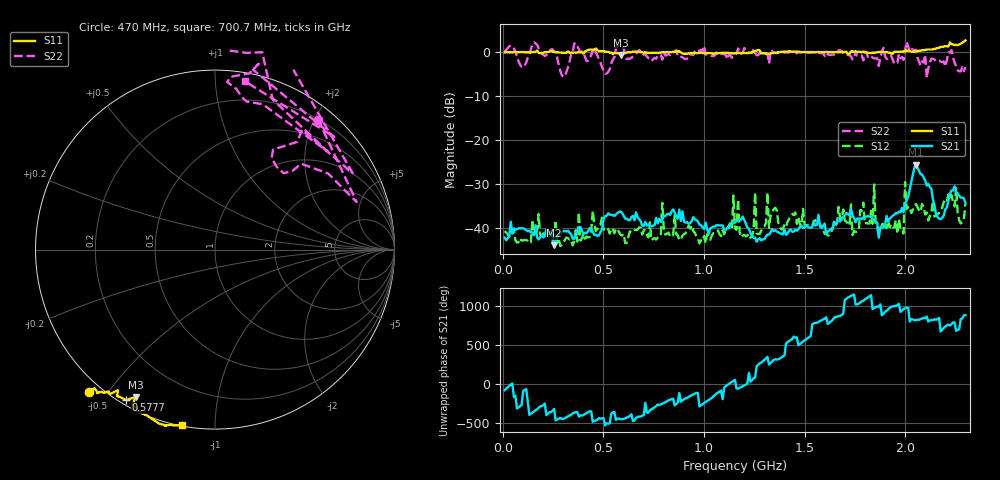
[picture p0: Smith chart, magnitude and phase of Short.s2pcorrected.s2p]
# Hz S DB R 50.000000
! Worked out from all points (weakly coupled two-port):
!   299 points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, 8.689 MHz to 2.3 GHz, reference 50 ohm
!   highest |S21| = -25.51 dB at 2.054 GHz (marker M1); lowest = -43.9 dB at 254.7 MHz (marker M2)
!   lowest |S11| = -0.6 dB at 585.4 MHz (marker M3), VSWR 28.75, Z = 2.36 - j29.8 ohm
!   |S11| at or under -10 dB: nowhere
!   |S22| runs from -5.8 to 2.4 dB; largest |S21 - S12| = 0.067
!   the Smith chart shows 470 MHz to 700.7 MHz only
!   S11 on the Smith chart (normalised r, x): 470 MHz: -0.03, -0.45; 577.7 MHz: 0.02, -0.57; 700.7 MHz: 0.00, -0.83
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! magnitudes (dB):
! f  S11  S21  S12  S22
! 8.689 MHz  0.0  -42.1  -40.6  0.2
! 254.7 MHz  0.1  -43.9  -43.8  0.1
! 393.1 MHz  0.1  -40.6  -42.3  0.1
! 470 MHz  0.5  -41.7  -40.1  -0.7
! 577.7 MHz  -0.2  -36.3  -40.9  1.2
! 585.4 MHz  -0.6  -36.2  -41.5  0.9
! 700.7 MHz  0.0  -39.4  -40.5  -0.4
! 777.6 MHz  -0.1  -37.8  -41.8  -0.6
! 1.147 GHz  -0.2  -38.9  -32.6  -0.9
! 1.162 GHz  -0.1  -38.4  -40.3  -0.3
! 1.239 GHz  0.0  -41.7  -41.8  -0.1
! 1.254 GHz  0.2  -42.1  -31.9  -0.2
! 1.262 GHz  0.4  -43.0  -41.2  -0.7
! 1.316 GHz  -0.3  -41.4  -31.8  -0.4
! 1.539 GHz  0.0  -39.7  -39.4  0.0
! 1.839 GHz  -0.1  -37.8  -39.0  -1.2
! 1.846 GHz  -0.1  -38.2  -30.1  -1.4
! 1.869 GHz  0.1  -42.1  -41.5  -3.1
! 1.923 GHz  0.0  -37.9  -39.8  -1.3
! 2.054 GHz  0.3  -25.5  -34.5  0.6
! 2.169 GHz  1.0  -37.8  -36.5  -1.9
! 2.3 GHz  2.7  -34.2  -34.4  -3.4
